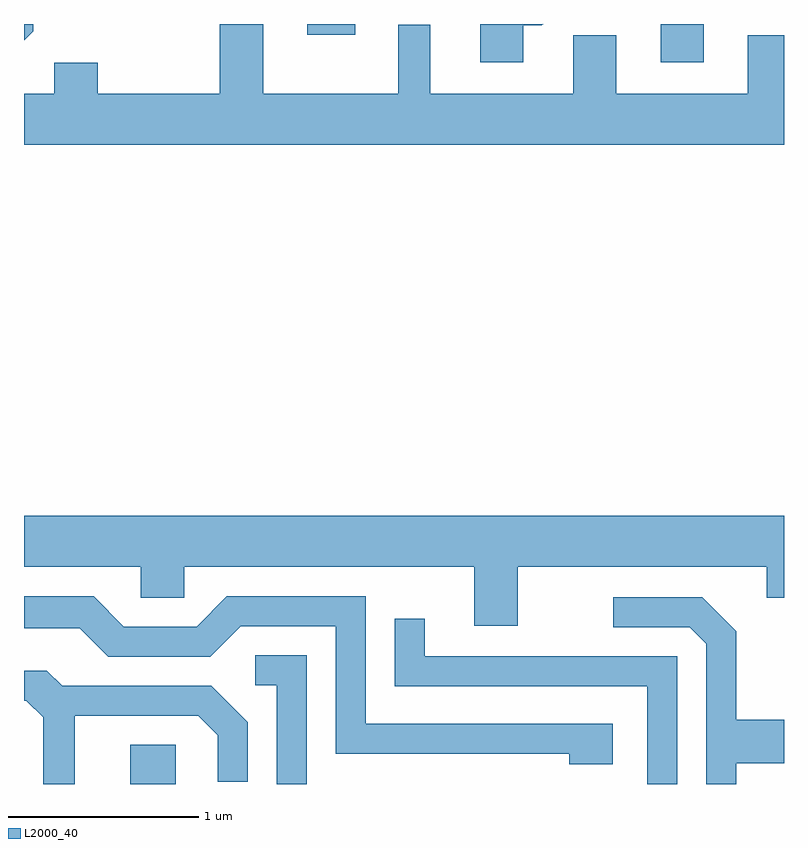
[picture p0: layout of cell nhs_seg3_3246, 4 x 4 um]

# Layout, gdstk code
import gdstk
lib = gdstk.Library(unit=1e-6, precision=1e-09)
def R(c, l, rs):  # rectangles x0, y0, x1, y1
    for r in rs: c.add(gdstk.rectangle(r[:2], r[2:], *l))
def P(c, l, *ps):  # polygons
    for p in ps: c.add(gdstk.Polygon(p, *l))
L2000_40 = (2000, 40)

nhs_seg3_3246 = lib.new_cell('nhs_seg3_3246')
R(nhs_seg3_3246, L2000_40, [(280.171,1215.892,280.409,1216.099), (282.961,1219.691,283.189,1219.892), (281.101,1219.836,281.354,1219.892)])
P(nhs_seg3_3246, L2000_40, [(279.659,1219.854),(279.659,1219.892),(279.611,1219.892),(279.611,1219.806)],
  [(283.611,1219.834),(283.421,1219.834),(283.421,1219.524),(282.729,1219.524),(282.729,1219.834),(282.501,1219.834),(282.501,1219.524),(281.749,1219.524),(281.749,1219.888),(281.581,1219.888),(281.581,1219.524),(280.869,1219.524),(280.869,1219.892),(280.641,1219.892),(280.641,1219.524),(279.999,1219.524),(279.999,1219.689),(279.771,1219.689),(279.771,1219.524),(279.611,1219.524),(279.611,1219.256),(283.611,1219.256)],
  [(282.239,1219.886),(282.337,1219.886),(282.343,1219.892),(282.011,1219.892),(282.011,1219.691),(282.239,1219.691)],
  [(282.209,1217.036),(283.521,1217.036),(283.521,1216.871),(283.611,1216.871),(283.611,1217.304),(279.611,1217.304),(279.611,1217.036),(280.226,1217.036),(280.226,1216.871),(280.454,1216.871),(280.454,1217.036),(281.981,1217.036),(281.981,1216.726),(282.209,1216.726)],
  [(282.709,1216.209),(281.409,1216.209),(281.409,1216.879),(280.679,1216.879),(280.519,1216.719),(280.137,1216.719),(279.977,1216.879),(279.611,1216.879),(279.611,1216.711),(279.904,1216.711),(280.054,1216.561),(280.592,1216.561),(280.752,1216.721),(281.251,1216.721),(281.251,1216.051),(282.481,1216.051),(282.481,1215.996),(282.709,1215.996)],
  [(283.359,1216.001),(283.611,1216.001),(283.611,1216.229),(283.359,1216.229),(283.359,1216.697),(283.182,1216.874),(282.713,1216.874),(282.713,1216.716),(283.114,1216.716),(283.201,1216.629),(283.201,1215.892),(283.359,1215.892)],
  [(283.049,1216.564),(281.719,1216.564),(281.719,1216.763),(281.561,1216.763),(281.561,1216.406),(282.891,1216.406),(282.891,1215.892),(283.049,1215.892)],
  [(281.099,1216.569),(280.828,1216.569),(280.828,1216.411),(280.941,1216.411),(280.941,1215.892),(281.099,1215.892)],
  [(279.879,1216.251),(280.529,1216.251),(280.631,1216.149),(280.631,1215.903),(280.789,1215.903),(280.789,1216.217),(280.597,1216.409),(279.812,1216.409),(279.732,1216.489),(279.611,1216.489),(279.611,1216.331),(279.624,1216.331),(279.711,1216.244),(279.711,1215.892),(279.879,1215.892)])

lib.write_gds('nhs_seg3_3246.gds')
